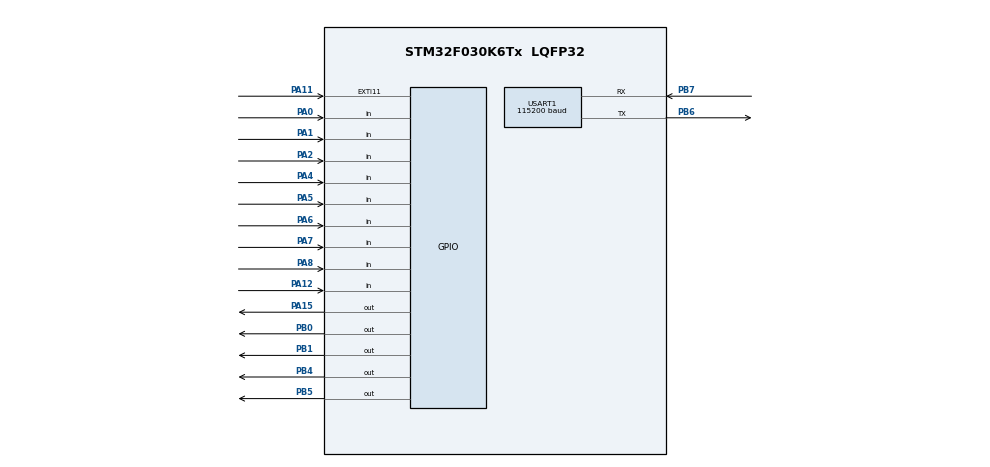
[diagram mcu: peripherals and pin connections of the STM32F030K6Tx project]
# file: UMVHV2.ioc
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Dma.Request0=USART1_RX
Dma.Request1=USART1_TX
Dma.USART1_RX.0.Direction=DMA_PERIPH_TO_MEMORY
Dma.USART1_RX.0.Instance=DMA1_Channel3
Dma.USART1_RX.0.MemDataAlignment=DMA_MDATAALIGN_BYTE
Dma.USART1_RX.0.MemInc=DMA_MINC_ENABLE
Dma.USART1_RX.0.Mode=DMA_NORMAL
Dma.USART1_RX.0.PeriphDataAlignment=DMA_PDATAALIGN_BYTE
Dma.USART1_RX.0.PeriphInc=DMA_PINC_DISABLE
Dma.USART1_RX.0.Priority=DMA_PRIORITY_LOW
Dma.USART1_TX.1.Direction=DMA_MEMORY_TO_PERIPH
Dma.USART1_TX.1.Instance=DMA1_Channel2
Dma.USART1_TX.1.MemDataAlignment=DMA_MDATAALIGN_BYTE
Dma.USART1_TX.1.MemInc=DMA_MINC_ENABLE
Dma.USART1_TX.1.Mode=DMA_NORMAL
Dma.USART1_TX.1.PeriphDataAlignment=DMA_PDATAALIGN_BYTE
Dma.USART1_TX.1.PeriphInc=DMA_PINC_DISABLE
Dma.USART1_TX.1.Priority=DMA_PRIORITY_LOW
Mcu.Family=STM32F0
Mcu.Name=STM32F030K6Tx
Mcu.Package=LQFP32
NVIC.DMA1_Channel2_3_IRQn=true\:0\:0\:false\:false\:true\:false\:true\:true
NVIC.EXTI4_15_IRQn=true\:0\:0\:false\:false\:true\:true\:true\:true
NVIC.USART1_IRQn=true\:0\:0\:false\:false\:true\:true\:true\:true
PA0.Signal=GPIO_Input
PA1.Signal=GPIO_Input
PA11.Signal=GPXTI11
PA12.Signal=GPIO_Input
PA13.Mode=Serial_Wire
PA13.Signal=SYS_SWDIO
PA14.Mode=Serial_Wire
PA14.Signal=SYS_SWCLK
PA15.Signal=GPIO_Output
PA2.Signal=GPIO_Input
PA4.Signal=GPIO_Input
PA5.Signal=GPIO_Input
PA6.Signal=GPIO_Input
PA7.Signal=GPIO_Input
PA8.Signal=GPIO_Input
PB0.Signal=GPIO_Output
PB1.Signal=GPIO_Output
PB4.Signal=GPIO_Output
PB5.Signal=GPIO_Output
PB6.Mode=Asynchronous
PB6.Signal=USART1_TX
PB7.Mode=Asynchronous
PB7.Signal=USART1_RX
PF0-OSC_IN.Mode=HSE-External-Oscillator
PF0-OSC_IN.Signal=RCC_OSC_IN
PF1-OSC_OUT.Mode=HSE-External-Oscillator
PF1-OSC_OUT.Signal=RCC_OSC_OUT
ProjectManager.HeapSize=0x200
ProjectManager.StackSize=0x400
ProjectManager.TargetToolchain=EWARM V8.32
RCC.AHBFreq_Value=48000000
RCC.APB1Freq_Value=48000000
RCC.APB1TimFreq_Value=48000000
RCC.HCLKFreq_Value=48000000
RCC.HSE_VALUE=25000000
RCC.PLLMUL=RCC_PLL_MUL12
RCC.SYSCLKFreq_VALUE=48000000
RCC.SYSCLKSource=RCC_SYSCLKSOURCE_PLLCLK
USART1.BaudRate=115200
USART1.VirtualMode-Asynchronous=VM_ASYNC
board=custom

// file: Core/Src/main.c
/* USER CODE BEGIN Header */
/**
  ******************************************************************************
  * @file           : main.c
  * @brief          : Main program body
  ******************************************************************************
  * @attention
  *
  * Copyright (c) 2025 STMicroelectronics.
  * All rights reserved.
  *
  * This software is licensed under terms that can be found in the LICENSE file
  * in the root directory of this software component.
  * If no LICENSE file comes with this software, it is provided AS-IS.
  *
  ******************************************************************************
  */
/* USER CODE END Header */
#include "main.h"

/* USER CODE BEGIN Includes */
#include "stm32f0xx.h"
//#include "system_stm32f0xx.c"
//#include "stm32f0xx_ll_bus.h"
#include "mbcrc.h"

#define APP_ADDR               0x08001000u  //Это адаптированный загрузчик от UMVH
#define END_APP_ADDR           0x08007BFFu

typedef void (*pAppEntry)(void);

#define buf_size_rx             100

#define FLASH_CFG_PAGE_ADDR    0x08007C00u //разрешаем запись только с этого адреса и далее

#define UPDATE_FLAG            0x08007C04u
#define UPDATE_FLAG2           0x08007C08u
#define FLASH_PAGE_SIZE        1024U

#define UPDATE_TIMEOUT_LOOPS 100000U
#define ID                      0x01

#define HEADER_SIZE           6   // ID(1)+FUNC(1)+PKT_H(1)+PKT_L(1)+TOT_H(1)+TOT_L(1)
#define CRC_SIZE              2
#define FUNC_CODE_FIRMWARE    0x2A
#define MODBUS_ILLEGAL_FUNCTION    0x01
#define IS_IN_SAME_PAGE(addr, base) (((addr) & ~(FLASH_PAGE_SIZE-1u)) == (base)) //проверка, лежитат ли адреса на странице
#define CONFIG_PAGE_BASE   0x08007C00  // 0x08007C00 Адрес страницы с настройками калибровки и прочее

volatile uint32_t tick = 0;
volatile uint16_t number = 1;

volatile uint16_t time_x = 0;
#define TIME_X_MAX         30

static uint16_t s_pageBuf[FLASH_PAGE_SIZE/2];  // 1 КБ = 512 halfword
/* USER CODE END Includes */

/* USER CODE BEGIN PV */

uint8_t receive_buf[buf_size_rx] = {0};
unsigned char ID_1 = ID;

/* USER CODE END PV */

void SystemClock_Config(void);
static void MX_GPIO_Init(void);
static void MX_DMA_Init(void);
static void MX_USART1_UART_Init(void);

/* USER CODE BEGIN PFP */
void MY_UARTEx_RxEventCallback(uint16_t Size);
void JumpToApp(void);
void Update(void);
void SwitchToReceive(void);

static void flash_unlock(void);
static void flash_lock(void);
static uint8_t flash_program_halfword(uint32_t addr, uint16_t data);
static void send_ack(uint16_t packet);
void OS_usave_packet(uint16_t rx_len);
void ERROR_handler(uint8_t exception_code);
static void uart_tx(const uint8_t *buf, uint16_t len);
uint16_t FW_CalcCrc_ExcludeTail2(void);
static inline uint16_t swap_bytes16(uint16_t x);
//void SysTick_Handler(void);
/* USER CODE END PFP */

/* USER CODE BEGIN 0 */

void JumpToApp(void) {
    uint32_t *app_vec = (uint32_t *)APP_ADDR;
    // 1) Отключаем все прерывания
    __disable_irq();
    // 2) Устанавливаем MSP = первый элемент векторной таблицы приложения
    __set_MSP(app_vec[0]);

    // 3) сбросить USART1
    LL_USART_Disable(USART1);
    LL_APB1_GRP2_ForceReset(LL_APB1_GRP2_PERIPH_USART1);
    LL_APB1_GRP2_ReleaseReset(LL_APB1_GRP2_PERIPH_USART1);

    // 4) сбросить DMA‑канал (тот, что RX)
    LL_DMA_DisableChannel(DMA1, LL_DMA_CHANNEL_3);
    LL_AHB1_GRP1_ForceReset(LL_AHB1_GRP1_PERIPH_DMA1);
    LL_AHB1_GRP1_ReleaseReset(LL_AHB1_GRP1_PERIPH_DMA1);
    DMA1->IFCR = 0xFFFFFFFFu;

    // 5) отключить и сбросить NVIC
    NVIC_DisableIRQ(USART1_IRQn);
    NVIC_ClearPendingIRQ(USART1_IRQn);
    NVIC->ICER[0] = 0xFFFFFFFFu;
    NVIC->ICPR[0] = 0xFFFFFFFFu;

    // 6) Получаем адрес Reset_Handler приложения
    pAppEntry entry = (pAppEntry)app_vec[1];
    // 7) Прыгаем в приложение

    SysTick->CTRL = 0;
    SysTick->LOAD = 0;
    SysTick->VAL  = 0;

    entry();
    while (1) { /* не придём сюда */ }
}

static inline uint16_t swap_bytes16(uint16_t x)
{
    return (uint16_t)((x >> 8) | (x << 8));
}

static int Flash_ReadPageToBuf(uint32_t pageBase)
{
    // просто копируем байты страницы в RAM
    const uint16_t *src = (const uint16_t *)pageBase;
    for (uint32_t i = 0; i < FLASH_PAGE_SIZE/2; ++i) {
        s_pageBuf[i] = src[i];
    }
    return 0;
}

static int Flash_ErasePage(uint32_t pageBase)
{
    flash_unlock();
    FLASH->SR = FLASH_SR_EOP | FLASH_SR_WRPERR | FLASH_SR_PGERR;
    FLASH->CR |= FLASH_CR_PER;
    FLASH->AR  = pageBase;
    FLASH->CR |= FLASH_CR_STRT;
    while (FLASH->SR & FLASH_SR_BSY) {}
    FLASH->CR &= ~FLASH_CR_PER;
    if (FLASH->SR & (FLASH_SR_WRPERR | FLASH_SR_PGERR)) { flash_lock(); return -1; }
    FLASH->SR = FLASH_SR_EOP;
    flash_lock();
    return 0;
}

static int Flash_ProgramPageFromBuf(uint32_t pageBase)
{
    flash_unlock();
    for (uint32_t i = 0; i < FLASH_PAGE_SIZE/2; ++i) {
        uint32_t addr = pageBase + i*2;
        uint16_t hw   = s_pageBuf[i];
        if (hw == 0xFFFFu) continue;               // можно не писать стёртые полусловa
        if (flash_program_halfword(addr, hw)) {    // твоя функция
            flash_lock();
            return -1;
        }
    }
    flash_lock();
    return 0;
}

/* Сохранить страницу, изменив только два флага */
int Flash_PreservePageExceptOS(uint32_t flag1_addr, uint16_t flag1_val,
                               uint32_t flag2_addr, uint16_t flag2_val)
{
    const uint32_t pageBase = (flag1_addr & ~(FLASH_PAGE_SIZE-1u));
    if (!IS_IN_SAME_PAGE(flag2_addr, pageBase)) return -2; // флаги должны быть на одной странице

    __disable_irq();                     // чтобы никто не читал эту страницу во время операции

    // 1) копируем страницу в RAM
    Flash_ReadPageToBuf(pageBase);

    // 2) правим только флаги в копии
    s_pageBuf[(flag1_addr - pageBase)/2] = flag1_val;   // например 0xFFFF чтобы «стереть» флаг
    s_pageBuf[(flag2_addr - pageBase)/2] = flag2_val;   // или нужное служебное значение

    // 3) стираем страницу
    if (Flash_ErasePage(pageBase)) { __enable_irq(); return -3; }

    // 4) заливаем обратно всю страницу из буфера
    if (Flash_ProgramPageFromBuf(pageBase)) { __enable_irq(); return -4; }

    __enable_irq();
    return 0;
}

/* глобальная статическая переменная для адреса записи */
static uint32_t flash_write_addr = APP_ADDR;

/* вспомогательные функции для работы с флеш */
static inline void flash_unlock(void) {
    if (FLASH->CR & FLASH_CR_LOCK) {
        FLASH->KEYR = FLASH_KEY1;
        FLASH->KEYR = FLASH_KEY2;
    }
}

static inline void flash_lock(void) {
    FLASH->CR |= FLASH_CR_LOCK;
}

/* программирует в флеш half‑word, возвращает 0 при успехе */
static uint8_t flash_program_halfword(uint32_t addr, uint16_t data) {
    flash_unlock();
    FLASH->CR |= FLASH_CR_PG;
    *(__IO uint16_t*)addr = data;
    while (FLASH->SR & FLASH_SR_BSY);
    FLASH->CR &= ~FLASH_CR_PG;
    if (FLASH->SR & (FLASH_SR_WRPERR | FLASH_SR_PGERR)) return 1;
    FLASH->SR = FLASH_SR_EOP | FLASH_SR_WRPERR | FLASH_SR_PGERR;
    return 0;
}

static void uart_tx(const uint8_t *buf, uint16_t len)
{
  LL_GPIO_SetOutputPin(GPIOA, LL_GPIO_PIN_12);
  for (uint16_t i=0; i<len; i++) {
    while (!LL_USART_IsActiveFlag_TXE(USART1));
    LL_USART_TransmitData8(USART1, buf[i]);
  }
  while (!LL_USART_IsActiveFlag_TC(USART1));
  LL_USART_ClearFlag_TC(USART1);
  LL_DMA_EnableChannel(DMA1, LL_DMA_CHANNEL_3);
  LL_GPIO_ResetOutputPin(GPIOA, LL_GPIO_PIN_12);
  SwitchToReceive();
}

static void send_ack(uint16_t packet)
{
    uint8_t resp[6];
    resp[0] = ID_1;
    resp[1] = FUNC_CODE_FIRMWARE;
    resp[2] = (packet >> 8) & 0xFF;
    resp[3] = packet & 0xFF;
    uint16_t crc = mbcrc(resp, 4);
    resp[4] = (crc >> 8) & 0xFF;
    resp[5] =  crc        & 0xFF;

    uart_tx(resp, 6);
}

uint16_t FW_CalcCrc_ExcludeTail2(void)
{
    const uint32_t start = APP_ADDR;
    const uint32_t end_inclusive = END_APP_ADDR;

    uint32_t len = (end_inclusive - start + 1u);
    //uint32_t len = (end_inclusive - start);
    if (len < 2u) {
        return 0xFFFFu; // или 0, как удобнее обрабатывать ошибку
    }

    len -= 2u; // исключаем последние 2 байта (CRC)
    return mbcrc((unsigned char *)start, (int32_t)len);
}

void OS_usave_packet(uint16_t rx_len)
{
    volatile uint16_t pkt_num   = (receive_buf[2] << 8) | receive_buf[3];
    uint16_t total_pkts= (receive_buf[4] << 8) | receive_buf[5];
    uint8_t *data      = &receive_buf[HEADER_SIZE];
    uint16_t data_len  = rx_len - HEADER_SIZE - CRC_SIZE;

    if(number == pkt_num)
    {
      time_x = 1;
      uint16_t i;
      /* записываем payload пополам: два байта = half‑word */
      for (i = 0; (i+1) < data_len; i += 2) {
          uint16_t half = data[i] | (data[i+1] << 8);
          flash_program_halfword(flash_write_addr, half);
          flash_write_addr += 2;
      }

      if (i < data_len)
      {
          // остался один байт в data[i], а data[i+1] уже CRC;
          // зальём последний байт + 0xFF:
          // счетчик не увеличиваем, подразумеваем что это последний пакет
          uint16_t half = data[i] | (0xFF << 8);
          flash_program_halfword(flash_write_addr, half);
          //flash_write_addr += 1;
      }

      number++;
      /* отправляем подтверждение */
      send_ack(pkt_num);

      /* если это последний пакет — пишем флаг и прыгаем */
      if (pkt_num == total_pkts) {
          uint16_t temp = 0x0000;
          flash_program_halfword(UPDATE_FLAG2, temp);
          flash_program_halfword(UPDATE_FLAG, 0xFFFFu);
          flash_lock();
          //JumpToApp();
          time_x = 0;
      }
    }
    else
    {
      send_ack(0xFFFF);
      flash_program_halfword(UPDATE_FLAG, 0x1111u);
      flash_lock();
      time_x = 0;
    }
}

void ERROR_handler(uint8_t exception_code)
{
    uint8_t resp[5];
    uint8_t func_code = (receive_buf[1] | 0x80);  // оригинальный код функции с битом ошибки

    resp[0] = ID_1;           // адрес ведомого
    resp[1] = func_code;      // код функции + 0x80
    resp[2] = exception_code; // код исключения

    // CRC по первым 3 байтам
    uint16_t crc = mbcrc(resp, 3);
    resp[3] = (crc >> 8) & 0xFF;
    resp[4] =  crc        & 0xFF;

    uart_tx(resp, 5);
}

void MY_UARTEx_RxEventCallback(uint16_t Size)
{
    uint16_t rx_length = Size;

    if(!rx_length)
      return;

    tick = 0;

    uint16_t checksum = 0;

    if(rx_length > 2)
    {
      checksum = mbcrc(receive_buf, (rx_length-2)); //make CRC data
    }

    if ( (rx_length <= 2) ||
         ( (receive_buf[rx_length - 2] == (uint8_t)((checksum >> 8) & 0xFF)) &&
           (receive_buf[rx_length - 1] == (uint8_t)(checksum & 0xFF)) ) )
    {
      if(receive_buf[0] == ID_1)
      {

          switch (receive_buf[1])
          {

               case 0x2A:
                OS_usave_packet(rx_length);
                break;

               default:                                                           //errors handler
                ERROR_handler(MODBUS_ILLEGAL_FUNCTION);                           //MODBUS ILLEGAL FUNCTION//
                break;
          }
      }
      else
      {
          SwitchToReceive();
      }
    }
    else
    {
      SwitchToReceive();
    }
}

/**
 * Функция стирает область памяти под приложение
 *
 * К сожалению LL функции стирания секторов
 * на F0 недоступны, поэтому тут работа с регистрами
 *
 */
void Update(void)
{
    uint32_t pageAddr;

    // 0) Приводим страницу с настройками/флагами к нужным значениям флагов,
    //    сохранив ВСЁ остальное на странице (настройки).
    //    Здесь ставим "ожидание прошивки": UPDATE_FLAG2 = 0x1111, UPDATE_FLAG = 0xFFFF
    Flash_PreservePageExceptOS(UPDATE_FLAG,  0xFFFFu,
                               UPDATE_FLAG2, 0x1111u);

    // 1) Стираем ТОЛЬКО страницы приложения, кроме страницы настроек
    flash_unlock();
    FLASH->SR = FLASH_SR_EOP | FLASH_SR_WRPERR | FLASH_SR_PGERR;

    for (pageAddr = APP_ADDR; pageAddr < END_APP_ADDR; pageAddr += FLASH_PAGE_SIZE)
    {
        if (pageAddr == CONFIG_PAGE_BASE)   // не трогаем 0x08007C00
            continue;

        FLASH->CR |=  FLASH_CR_PER;
        FLASH->AR  =  pageAddr;
        FLASH->CR |=  FLASH_CR_STRT;
        while (FLASH->SR & FLASH_SR_BSY) { }

        FLASH->CR &= ~FLASH_CR_PER;
        if (FLASH->SR & (FLASH_SR_WRPERR | FLASH_SR_PGERR))
            break;

        FLASH->SR = FLASH_SR_EOP;
    }
    flash_lock();

    // 2) Сбрасываем адрес записи под новую прошивку
    flash_write_addr = APP_ADDR;
    number = 1;
}

void SwitchToReceive(void) {

    for (uint16_t i = 0; i < buf_size_rx; ++i) {
        receive_buf[i] = 0;
    }

    // Сброс флагов ошибки и IDLE
    LL_USART_ClearFlag_IDLE(USART1);
    LL_USART_ClearFlag_FE(USART1);
    LL_USART_ClearFlag_NE(USART1);
    LL_USART_ClearFlag_ORE(USART1);

    // Сбросить длину DMA до полного буфера и запустить приём
    LL_DMA_DisableChannel(DMA1, LL_DMA_CHANNEL_3);
    LL_DMA_SetDataLength(DMA1, LL_DMA_CHANNEL_3, buf_size_rx);
    LL_DMA_EnableChannel(DMA1, LL_DMA_CHANNEL_3);
}

/* USER CODE END 0 */

int main(void)
{

  /* MCU Configuration--------------------------------------------------------*/

  /* Reset of all peripherals, Initializes the Flash interface and the Systick. */
  LL_APB1_GRP2_EnableClock(LL_APB1_GRP2_PERIPH_SYSCFG);
  LL_APB1_GRP1_EnableClock(LL_APB1_GRP1_PERIPH_PWR);

  /* SysTick_IRQn interrupt configuration */
  NVIC_SetPriority(SysTick_IRQn, 3);

  /* Configure the system clock */
  //SystemClock_Config();

  /* Initialize all configured peripherals */
  MX_GPIO_Init();
  MX_DMA_Init();
  MX_USART1_UART_Init();
  /* USER CODE BEGIN 2 */
  LL_USART_EnableIT_IDLE(USART1);

  LL_DMA_SetPeriphAddress(DMA1, LL_DMA_CHANNEL_3, (uint32_t)&USART1->RDR);
  LL_DMA_SetMemoryAddress(DMA1, LL_DMA_CHANNEL_3, (uint32_t)receive_buf);
  LL_USART_EnableDMAReq_RX(USART1);

  SystemCoreClockUpdate();                 // обновить SystemCoreClock
  SysTick_Config(SystemCoreClock / 1000u); // 1 мс тик
  SwitchToReceive();
  /* USER CODE END 2 */

  /* Infinite loop */
  /* USER CODE BEGIN WHILE */

  while (1)
  {
    volatile uint16_t flag = *(volatile uint16_t *)UPDATE_FLAG;
    volatile uint16_t flag2 = *(volatile uint16_t *)UPDATE_FLAG2;
    volatile uint16_t OS_1st_word = *(volatile uint16_t *)(APP_ADDR +2);
    volatile uint16_t crc_os = 0;

    if(OS_1st_word != 0xFFFF)
    {
    crc_os = FW_CalcCrc_ExcludeTail2();
    crc_os = swap_bytes16(crc_os);
    }

    volatile uint16_t OS = *(volatile uint16_t *)(END_APP_ADDR - 1);

    if(flag == 0x1111u)
    {
      Update();
    }
    else
    {
            if((crc_os == OS) && (OS_1st_word != 0xFFFF))
            {
              JumpToApp();
            }
            else
            {
              if(time_x && (OS_1st_word != 0xFFFF))
              {
                if(time_x >= TIME_X_MAX)
                {
                  Update();
                  time_x = 0;
                }
              }
            }
    }

    if (tick >= 1000u) {
    tick -= 1000u;
    time_x++;        // прошло 1 сек и более
    }
    /* USER CODE END WHILE */

  }
}

static void MX_USART1_UART_Init(void)
{

  LL_USART_InitTypeDef USART_InitStruct = {0};

  LL_GPIO_InitTypeDef GPIO_InitStruct = {0};

  /* Peripheral clock enable */
  LL_APB1_GRP2_EnableClock(LL_APB1_GRP2_PERIPH_USART1);
  LL_AHB1_GRP1_EnableClock(LL_AHB1_GRP1_PERIPH_GPIOA);
  LL_AHB1_GRP1_EnableClock(LL_AHB1_GRP1_PERIPH_GPIOB);
  /**USART1 GPIO Configuration
  PB6   ------> USART1_TX
  PB7   ------> USART1_RX
  */
  GPIO_InitStruct.Pin = LL_GPIO_PIN_6;
  GPIO_InitStruct.Mode = LL_GPIO_MODE_ALTERNATE;
  GPIO_InitStruct.Speed = LL_GPIO_SPEED_FREQ_HIGH;
  GPIO_InitStruct.OutputType = LL_GPIO_OUTPUT_PUSHPULL;
  GPIO_InitStruct.Pull = LL_GPIO_PULL_NO;
  GPIO_InitStruct.Alternate = LL_GPIO_AF_0;
  LL_GPIO_Init(GPIOB, &GPIO_InitStruct);

  GPIO_InitStruct.Pin = LL_GPIO_PIN_7;
  GPIO_InitStruct.Mode = LL_GPIO_MODE_ALTERNATE;
  GPIO_InitStruct.Speed = LL_GPIO_SPEED_FREQ_HIGH;
  GPIO_InitStruct.OutputType = LL_GPIO_OUTPUT_PUSHPULL;
  GPIO_InitStruct.Pull = LL_GPIO_PULL_NO;
  GPIO_InitStruct.Alternate = LL_GPIO_AF_0;
  LL_GPIO_Init(GPIOB, &GPIO_InitStruct);

  /* USART1 DMA Init */

  /* USART1_RX Init */
  LL_DMA_SetDataTransferDirection(DMA1, LL_DMA_CHANNEL_3, LL_DMA_DIRECTION_PERIPH_TO_MEMORY);

  LL_DMA_SetChannelPriorityLevel(DMA1, LL_DMA_CHANNEL_3, LL_DMA_PRIORITY_LOW);

  LL_DMA_SetMode(DMA1, LL_DMA_CHANNEL_3, LL_DMA_MODE_NORMAL);

  LL_DMA_SetPeriphIncMode(DMA1, LL_DMA_CHANNEL_3, LL_DMA_PERIPH_NOINCREMENT);

  LL_DMA_SetMemoryIncMode(DMA1, LL_DMA_CHANNEL_3, LL_DMA_MEMORY_INCREMENT);

  LL_DMA_SetPeriphSize(DMA1, LL_DMA_CHANNEL_3, LL_DMA_PDATAALIGN_BYTE);

  LL_DMA_SetMemorySize(DMA1, LL_DMA_CHANNEL_3, LL_DMA_MDATAALIGN_BYTE);

  /* USART1_TX Init */
  LL_DMA_SetDataTransferDirection(DMA1, LL_DMA_CHANNEL_2, LL_DMA_DIRECTION_MEMORY_TO_PERIPH);

  LL_DMA_SetChannelPriorityLevel(DMA1, LL_DMA_CHANNEL_2, LL_DMA_PRIORITY_LOW);

  LL_DMA_SetMode(DMA1, LL_DMA_CHANNEL_2, LL_DMA_MODE_NORMAL);

  LL_DMA_SetPeriphIncMode(DMA1, LL_DMA_CHANNEL_2, LL_DMA_PERIPH_NOINCREMENT);

  LL_DMA_SetMemoryIncMode(DMA1, LL_DMA_CHANNEL_2, LL_DMA_MEMORY_INCREMENT);

  LL_DMA_SetPeriphSize(DMA1, LL_DMA_CHANNEL_2, LL_DMA_PDATAALIGN_BYTE);

  LL_DMA_SetMemorySize(DMA1, LL_DMA_CHANNEL_2, LL_DMA_MDATAALIGN_BYTE);

  /* USART1 interrupt Init */
  NVIC_SetPriority(USART1_IRQn, 0);
  NVIC_EnableIRQ(USART1_IRQn);

  USART_InitStruct.BaudRate = 56000;
  USART_InitStruct.DataWidth = LL_USART_DATAWIDTH_8B;
  USART_InitStruct.StopBits = LL_USART_STOPBITS_1;
  USART_InitStruct.Parity = LL_USART_PARITY_NONE;
  USART_InitStruct.TransferDirection = LL_USART_DIRECTION_TX_RX;
  USART_InitStruct.HardwareFlowControl = LL_USART_HWCONTROL_NONE;
  USART_InitStruct.OverSampling = LL_USART_OVERSAMPLING_16;
  LL_USART_Init(USART1, &USART_InitStruct);
  LL_USART_DisableIT_CTS(USART1);
  LL_USART_ConfigAsyncMode(USART1);
  LL_USART_Enable(USART1);

}

static void MX_DMA_Init(void)
{

  /* Init with LL driver */
  /* DMA controller clock enable */
  LL_AHB1_GRP1_EnableClock(LL_AHB1_GRP1_PERIPH_DMA1);

  /* DMA interrupt init */
  /* DMA1_Channel2_3_IRQn interrupt configuration */
  NVIC_SetPriority(DMA1_Channel2_3_IRQn, 0);
  NVIC_EnableIRQ(DMA1_Channel2_3_IRQn);

}

static void MX_GPIO_Init(void)
{
    LL_GPIO_InitTypeDef GPIO_InitStruct = {0};

    /* Включаем тактирование порта B */
    LL_AHB1_GRP1_EnableClock(LL_AHB1_GRP1_PERIPH_GPIOB);
    LL_AHB1_GRP1_EnableClock(LL_AHB1_GRP1_PERIPH_GPIOA);

    /* --- PB5: DE (RS-485 driver enable) --- */
    GPIO_InitStruct.Pin        = LL_GPIO_PIN_12;
    GPIO_InitStruct.Mode       = LL_GPIO_MODE_OUTPUT;
    GPIO_InitStruct.Speed      = LL_GPIO_SPEED_FREQ_LOW;
    GPIO_InitStruct.OutputType = LL_GPIO_OUTPUT_PUSHPULL;
    GPIO_InitStruct.Pull       = LL_GPIO_PULL_NO;
    LL_GPIO_Init(GPIOA, &GPIO_InitStruct);
    /* Изначально в режиме приёма */
    LL_GPIO_ResetOutputPin(GPIOA, LL_GPIO_PIN_12);

    /* --- PB6: USART1_TX, PB7: USART1_RX (AF0) --- */
    GPIO_InitStruct.Mode       = LL_GPIO_MODE_ALTERNATE;
    GPIO_InitStruct.Speed      = LL_GPIO_SPEED_FREQ_HIGH;
    GPIO_InitStruct.OutputType = LL_GPIO_OUTPUT_PUSHPULL;
    GPIO_InitStruct.Pull       = LL_GPIO_PULL_NO;
    GPIO_InitStruct.Alternate  = LL_GPIO_AF_0;

    /* PB6 = TX */
    GPIO_InitStruct.Pin = LL_GPIO_PIN_6;
    LL_GPIO_Init(GPIOB, &GPIO_InitStruct);

    /* PB7 = RX */
    GPIO_InitStruct.Pin = LL_GPIO_PIN_7;
    LL_GPIO_Init(GPIOB, &GPIO_InitStruct);
}

void Error_Handler(void)
{
  __disable_irq();
  while (1)
  {
  }
}
